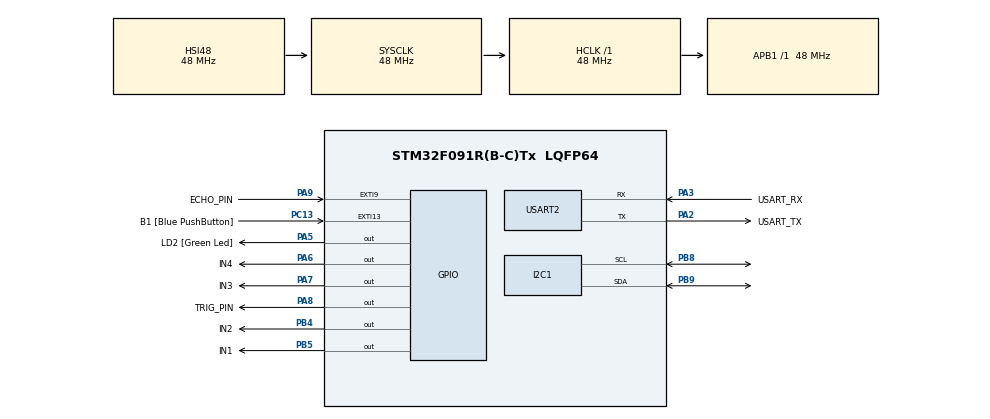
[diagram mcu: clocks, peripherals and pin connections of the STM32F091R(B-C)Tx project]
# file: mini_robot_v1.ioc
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I2C1.Timing=0x00201D2B
Mcu.Family=STM32F0
Mcu.Name=STM32F091R(B-C)Tx
Mcu.Package=LQFP64
NVIC.EXTI4_15_IRQn=true\:0\:0\:false\:false\:true\:true\:true\:true
NVIC.I2C1_IRQn=true\:0\:0\:false\:false\:true\:true\:true\:true
PA13.GPIO_Label=TMS
PA13.Signal=SYS_SWDIO
PA14.GPIO_Label=TCK
PA14.Signal=SYS_SWCLK
PA2.GPIO_Label=USART_TX
PA2.GPIO_Mode=GPIO_MODE_AF_PP
PA2.GPIO_PuPd=GPIO_NOPULL
PA2.GPIO_Speed=GPIO_SPEED_FREQ_LOW
PA2.Mode=Asynchronous
PA2.Signal=USART2_TX
PA3.GPIO_Label=USART_RX
PA3.GPIO_Mode=GPIO_MODE_AF_PP
PA3.GPIO_PuPd=GPIO_NOPULL
PA3.GPIO_Speed=GPIO_SPEED_FREQ_LOW
PA3.Mode=Asynchronous
PA3.Signal=USART2_RX
PA5.GPIO_Label=LD2 [Green Led]
PA5.GPIO_Mode=GPIO_MODE_OUTPUT_PP
PA5.GPIO_PuPd=GPIO_NOPULL
PA5.GPIO_Speed=GPIO_SPEED_FREQ_LOW
PA5.Signal=GPIO_Output
PA6.GPIO_Label=IN4
PA6.Signal=GPIO_Output
PA7.GPIO_Label=IN3
PA7.Signal=GPIO_Output
PA8.GPIO_Label=TRIG_PIN
PA8.Signal=GPIO_Output
PA9.GPIO_Label=ECHO_PIN
PA9.GPIO_ModeDefaultEXTI=GPIO_MODE_IT_RISING
PA9.Signal=GPXTI9
PB4.GPIO_Label=IN2
PB4.Signal=GPIO_Output
PB5.GPIO_Label=IN1
PB5.Signal=GPIO_Output
PB8.Mode=I2C
PB8.Signal=I2C1_SCL
PB9.Mode=I2C
PB9.Signal=I2C1_SDA
PC13.GPIO_Label=B1 [Blue PushButton]
PC13.GPIO_ModeDefaultEXTI=GPIO_MODE_IT_FALLING
PC13.Signal=GPXTI13
PC14OSC32_IN.Signal=RCC_OSC32_IN
PC15OSC32_OUT.Signal=RCC_OSC32_OUT
PF0-OSC_IN.Signal=RCC_OSC_IN
PF1-OSC_OUT.Signal=RCC_OSC_OUT
ProjectManager.HeapSize=0x200
ProjectManager.StackSize=0x400
ProjectManager.TargetToolchain=CMake
RCC.AHBFreq_Value=48000000
RCC.APB1Freq_Value=48000000
RCC.APB1TimFreq_Value=48000000
RCC.FLatency-AdvancedSettings=FLASH_LATENCY_1
RCC.HCLKFreq_Value=48000000
RCC.PLLDivider=RCC_PREDIV_DIV2
RCC.PLLMUL=RCC_PLL_MUL12
RCC.PREFETCH_ENABLE-AdvancedSettings=1
RCC.SYSCLKFreq_VALUE=48000000
RCC.SYSCLKSource=RCC_SYSCLKSOURCE_HSI48
USART2.VirtualMode-Asynchronous=VM_ASYNC
board=NUCLEO-F091RC

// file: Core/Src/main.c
/* USER CODE BEGIN Header */
/**
  ******************************************************************************
  * @file           : main.c
  * @brief          : Main program body
  ******************************************************************************
  * @attention
  *
  * Copyright (c) 2025 STMicroelectronics.
  * All rights reserved.
  *
  * This software is licensed under terms that can be found in the LICENSE file
  * in the root directory of this software component.
  * If no LICENSE file comes with this software, it is provided AS-IS.
  *
  ******************************************************************************
  */
/* USER CODE END Header */
#include "main.h"

/* USER CODE BEGIN Includes */
#include "stdio.h"
/* USER CODE END Includes */

/* USER CODE BEGIN PD */
#define CAST_ADDR(addr, offset) ((volatile uint32_t *)(addr + offset))
#define MASK_PIN(pin) (1<<pin)
#define FORWARD 0X02
#define REVERSE 0X01
#define BRAKE 0X03
#define STOP 0X00
#define MTR1_Pin 4
#define MTR2_Pin 8
/* USER CODE END PD */

I2C_HandleTypeDef hi2c1;

UART_HandleTypeDef huart2;

void SystemClock_Config(void);
static void MX_GPIO_Init(void);
static void MX_I2C1_Init(void);
static void MX_USART2_UART_Init(void);

/* USER CODE BEGIN 0 */
uint8_t start = 0;
void HAL_GPIO_EXTI_Callback(uint16_t GPIO_Pin){
  if(GPIO_Pin == ECHO_PIN_Pin){
    start = 1;
  }
}

void motor_control(volatile uint32_t *ADDR, uint8_t mtr, uint8_t cmd){
  switch (cmd)
  {
  case FORWARD:
    *ADDR |= (STOP<<mtr);
    HAL_Delay(100);
    *ADDR |= (cmd<<mtr);
    break;
  case REVERSE:
  *ADDR |= (STOP<<mtr);
    HAL_Delay(100);
    *ADDR |= (cmd<<mtr);
    break;
  case BRAKE:
    *ADDR |= (cmd<<mtr);
    break;
  case STOP:
    *ADDR &= (cmd<<mtr);
    break;

  default:
    *ADDR &= (STOP<<mtr);
    break;
  }
}

void delay_us(uint32_t us) {
    // 1 iteration ~ 1 us at 48 MHz (tune as needed for your clock)
  for(uint32_t i = 0; i < us * 48; i++) {
        __NOP();
   }
}

int find_distace(){
  uint32_t duration = 0;
  while(HAL_GPIO_ReadPin(ECHO_PIN_GPIO_Port, ECHO_PIN_Pin) == GPIO_PIN_SET){
    // delay_us(1);
    duration++;;
  }
  uint32_t distance = (duration * 0.0343) / 2;
  return distance;
}

/* USER CODE END 0 */

int main(void)
{

  /* MCU Configuration--------------------------------------------------------*/

  /* Reset of all peripherals, Initializes the Flash interface and the Systick. */
  HAL_Init();

  /* Configure the system clock */
  SystemClock_Config();

  /* Initialize all configured peripherals */
  MX_GPIO_Init();
  MX_I2C1_Init();
  MX_USART2_UART_Init();
  /* USER CODE BEGIN 2 */
  volatile uint32_t *GPIOB_ODR = CAST_ADDR(GPIOB_BASE, 0x14UL);
  *GPIOB_ODR &= ~MASK_PIN(IN2_Pin);

  /* USER CODE END 2 */

  /* Infinite loop */
  /* USER CODE BEGIN WHILE */
  while (1)
  {
    printf("STARTING TESTS!\n");
    HAL_Delay(1000);
    /* USER CODE END WHILE */

    /* USER CODE BEGIN 3 */
    // motor_control(GPIOB_ODR, MTR1_Pin, FORWARD);
    // HAL_Delay(1000);
    // motor_control(GPIOB_ODR, MTR1_Pin, STOP);
    // HAL_Delay(2000);

  // Ultrasonic sensor code (commented out)
  // 1. Trigger the sensor for 10 microseconds
  HAL_GPIO_WritePin(TRIG_PIN_GPIO_Port, TRIG_PIN_Pin, GPIO_PIN_SET);
  delay_us(10);
  HAL_GPIO_WritePin(TRIG_PIN_GPIO_Port, TRIG_PIN_Pin, GPIO_PIN_RESET);
  // 2. Wait for the echo pin to go high
  // 3. Measure the time the echo pin stays high
  uint16_t distance = 0;
  if(start == 1){
    distance = find_distace();
    start = 0;
  }

  HAL_Delay(2000);
  printf("Distance: %d cm\n", distance);
  /* USER CODE END 3 */
  }
}

void SystemClock_Config(void)
{
  RCC_OscInitTypeDef RCC_OscInitStruct = {0};
  RCC_ClkInitTypeDef RCC_ClkInitStruct = {0};
  RCC_PeriphCLKInitTypeDef PeriphClkInit = {0};

  /** Initializes the RCC Oscillators according to the specified parameters
  * in the RCC_OscInitTypeDef structure.
  */
  RCC_OscInitStruct.OscillatorType = RCC_OSCILLATORTYPE_HSI|RCC_OSCILLATORTYPE_HSI48;
  RCC_OscInitStruct.HSIState = RCC_HSI_ON;
  RCC_OscInitStruct.HSI48State = RCC_HSI48_ON;
  RCC_OscInitStruct.HSICalibrationValue = RCC_HSICALIBRATION_DEFAULT;
  RCC_OscInitStruct.PLL.PLLState = RCC_PLL_NONE;
  if (HAL_RCC_OscConfig(&RCC_OscInitStruct) != HAL_OK)
  {
    Error_Handler();
  }

  /** Initializes the CPU, AHB and APB buses clocks
  */
  RCC_ClkInitStruct.ClockType = RCC_CLOCKTYPE_HCLK|RCC_CLOCKTYPE_SYSCLK
                              |RCC_CLOCKTYPE_PCLK1;
  RCC_ClkInitStruct.SYSCLKSource = RCC_SYSCLKSOURCE_HSI48;
  RCC_ClkInitStruct.AHBCLKDivider = RCC_SYSCLK_DIV1;
  RCC_ClkInitStruct.APB1CLKDivider = RCC_HCLK_DIV1;

  if (HAL_RCC_ClockConfig(&RCC_ClkInitStruct, FLASH_LATENCY_1) != HAL_OK)
  {
    Error_Handler();
  }
  PeriphClkInit.PeriphClockSelection = RCC_PERIPHCLK_USART2|RCC_PERIPHCLK_I2C1;
  PeriphClkInit.Usart2ClockSelection = RCC_USART2CLKSOURCE_PCLK1;
  PeriphClkInit.I2c1ClockSelection = RCC_I2C1CLKSOURCE_HSI;
  if (HAL_RCCEx_PeriphCLKConfig(&PeriphClkInit) != HAL_OK)
  {
    Error_Handler();
  }
}

static void MX_I2C1_Init(void)
{

  hi2c1.Instance = I2C1;
  hi2c1.Init.Timing = 0x00201D2B;
  hi2c1.Init.OwnAddress1 = 0;
  hi2c1.Init.AddressingMode = I2C_ADDRESSINGMODE_7BIT;
  hi2c1.Init.DualAddressMode = I2C_DUALADDRESS_DISABLE;
  hi2c1.Init.OwnAddress2 = 0;
  hi2c1.Init.OwnAddress2Masks = I2C_OA2_NOMASK;
  hi2c1.Init.GeneralCallMode = I2C_GENERALCALL_DISABLE;
  hi2c1.Init.NoStretchMode = I2C_NOSTRETCH_DISABLE;
  if (HAL_I2C_Init(&hi2c1) != HAL_OK)
  {
    Error_Handler();
  }

  /** Configure Analogue filter
  */
  if (HAL_I2CEx_ConfigAnalogFilter(&hi2c1, I2C_ANALOGFILTER_ENABLE) != HAL_OK)
  {
    Error_Handler();
  }

  /** Configure Digital filter
  */
  if (HAL_I2CEx_ConfigDigitalFilter(&hi2c1, 0) != HAL_OK)
  {
    Error_Handler();
  }

}

static void MX_USART2_UART_Init(void)
{

  huart2.Instance = USART2;
  huart2.Init.BaudRate = 115200;
  huart2.Init.WordLength = UART_WORDLENGTH_8B;
  huart2.Init.StopBits = UART_STOPBITS_1;
  huart2.Init.Parity = UART_PARITY_NONE;
  huart2.Init.Mode = UART_MODE_TX_RX;
  huart2.Init.HwFlowCtl = UART_HWCONTROL_NONE;
  huart2.Init.OverSampling = UART_OVERSAMPLING_16;
  huart2.Init.OneBitSampling = UART_ONE_BIT_SAMPLE_DISABLE;
  huart2.AdvancedInit.AdvFeatureInit = UART_ADVFEATURE_NO_INIT;
  if (HAL_UART_Init(&huart2) != HAL_OK)
  {
    Error_Handler();
  }

}

static void MX_GPIO_Init(void)
{
  GPIO_InitTypeDef GPIO_InitStruct = {0};

  /* GPIO Ports Clock Enable */
  __HAL_RCC_GPIOC_CLK_ENABLE();
  __HAL_RCC_GPIOF_CLK_ENABLE();
  __HAL_RCC_GPIOA_CLK_ENABLE();
  __HAL_RCC_GPIOB_CLK_ENABLE();

  /*Configure GPIO pin Output Level */
  HAL_GPIO_WritePin(GPIOA, LD2_Pin|IN4_Pin|IN3_Pin|TRIG_PIN_Pin, GPIO_PIN_RESET);

  /*Configure GPIO pin Output Level */
  HAL_GPIO_WritePin(GPIOB, IN2_Pin|IN1_Pin, GPIO_PIN_RESET);

  /*Configure GPIO pin : B1_Pin */
  GPIO_InitStruct.Pin = B1_Pin;
  GPIO_InitStruct.Mode = GPIO_MODE_IT_FALLING;
  GPIO_InitStruct.Pull = GPIO_NOPULL;
  HAL_GPIO_Init(B1_GPIO_Port, &GPIO_InitStruct);

  /*Configure GPIO pins : LD2_Pin IN4_Pin IN3_Pin TRIG_PIN_Pin */
  GPIO_InitStruct.Pin = LD2_Pin|IN4_Pin|IN3_Pin|TRIG_PIN_Pin;
  GPIO_InitStruct.Mode = GPIO_MODE_OUTPUT_PP;
  GPIO_InitStruct.Pull = GPIO_NOPULL;
  GPIO_InitStruct.Speed = GPIO_SPEED_FREQ_LOW;
  HAL_GPIO_Init(GPIOA, &GPIO_InitStruct);

  /*Configure GPIO pin : ECHO_PIN_Pin */
  GPIO_InitStruct.Pin = ECHO_PIN_Pin;
  GPIO_InitStruct.Mode = GPIO_MODE_IT_RISING;
  GPIO_InitStruct.Pull = GPIO_NOPULL;
  HAL_GPIO_Init(ECHO_PIN_GPIO_Port, &GPIO_InitStruct);

  /*Configure GPIO pins : IN2_Pin IN1_Pin */
  GPIO_InitStruct.Pin = IN2_Pin|IN1_Pin;
  GPIO_InitStruct.Mode = GPIO_MODE_OUTPUT_PP;
  GPIO_InitStruct.Pull = GPIO_NOPULL;
  GPIO_InitStruct.Speed = GPIO_SPEED_FREQ_LOW;
  HAL_GPIO_Init(GPIOB, &GPIO_InitStruct);

  /* EXTI interrupt init*/
  HAL_NVIC_SetPriority(EXTI4_15_IRQn, 0, 0);
  HAL_NVIC_EnableIRQ(EXTI4_15_IRQn);

}

/* USER CODE BEGIN 4 */
int _write(int file, char *ptr, int len) {
  (void)file;

  HAL_UART_Transmit(&huart2, (uint8_t *)ptr, len, 10 * len);

  return len;
}

int __io_putchar(int ch) {
  uint8_t buf = ch;
  HAL_UART_Transmit(&huart2, &buf, 1, 100);
  return 0;
}

int __io_getchar(void) {
  uint8_t buf;
  HAL_UART_Receive(&huart2, &buf, 1, HAL_MAX_DELAY);
  return buf;
}
/* USER CODE END 4 */

void Error_Handler(void)
{
  __disable_irq();
  while (1)
  {
  }
}
